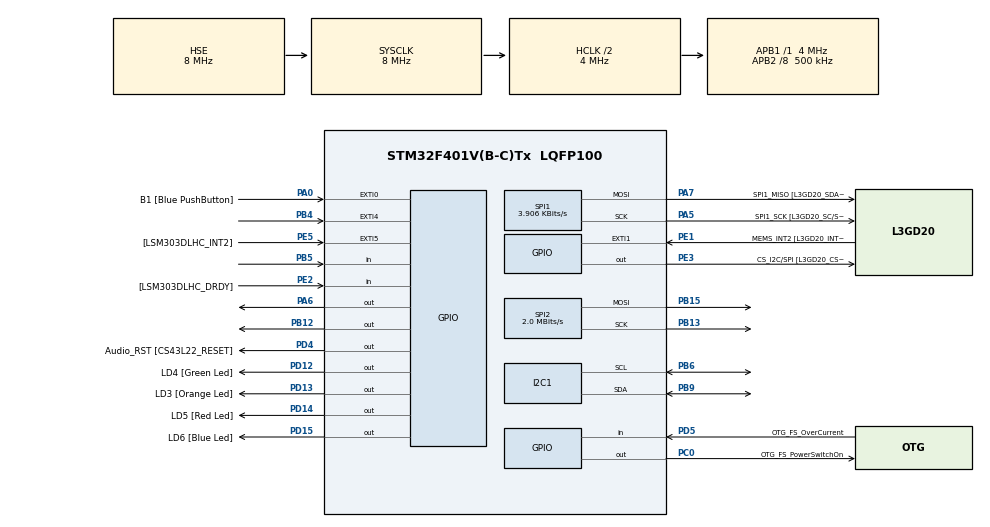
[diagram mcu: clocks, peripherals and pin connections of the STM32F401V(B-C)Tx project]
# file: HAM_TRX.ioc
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FREERTOS.Tasks01=defaultTask,0,128,StartDefaultTask
I2C1.I2C_Mode=I2C_Standard
Mcu.Family=STM32F4
Mcu.Name=STM32F401V(B-C)Tx
Mcu.Package=LQFP100
NVIC.EXTI4_IRQn=true\:5\:0\:true
NVIC.PriorityGroup=NVIC_PRIORITYGROUP_4
PA0-WKUP.GPIO_Label=B1 [Blue PushButton]
PA0-WKUP.GPIO_ModeDefaultEXTI=GPIO_MODE_EVT_RISING
PA0-WKUP.Signal=GPXTI0
PA10.GPIO_Label=OTG_FS_ID
PA10.Signal=USB_OTG_FS_ID
PA11.GPIO_Label=OTG_FS_DM
PA11.Signal=USB_OTG_FS_DM
PA12.GPIO_Label=OTG_FS_DP
PA12.Signal=USB_OTG_FS_DP
PA13.GPIO_Label=SWDIO
PA13.Mode=Trace-Asynchronous_SW
PA13.Signal=SYS_JTMS-SWDIO
PA14.GPIO_Label=SWCLK
PA14.Mode=Trace-Asynchronous_SW
PA14.Signal=SYS_JTCK-SWCLK
PA4.GPIO_Label=I2S3_WS [CS43L22_LRCK]
PA4.GPIO_Mode=GPIO_MODE_AF_PP
PA4.GPIO_PuPd=GPIO_NOPULL
PA4.GPIO_Speed=GPIO_SPEED_LOW
PA4.Signal=I2S3_WS
PA5.GPIO_Label=SPI1_SCK [L3GD20_SC/SPC]
PA5.Mode=TX_Only_Simplex_Unidirect_Master
PA5.Signal=SPI1_SCK
PA6.Signal=GPIO_Output
PA7.GPIO_Label=SPI1_MISO [L3GD20_SDA/SDI/SDO]
PA7.Mode=TX_Only_Simplex_Unidirect_Master
PA7.Signal=SPI1_MOSI
PA9.GPIO_Label=VBUS_FS
PA9.Signal=USB_OTG_FS_VBUS
PB10.GPIO_Label=CLK_IN [MP45DT02_CLK]
PB10.Signal=I2S2_CK
PB12.Signal=GPIO_Output
PB13.Mode=TX_Only_Simplex_Unidirect_Master
PB13.Signal=SPI2_SCK
PB15.Mode=TX_Only_Simplex_Unidirect_Master
PB15.Signal=SPI2_MOSI
PB3.GPIO_Label=SWO
PB3.Mode=Trace-Asynchronous_SW
PB3.Signal=SYS_JTDO-SWO
PB4.Signal=GPXTI4
PB5.Signal=GPIO_Input
PB6.GPIO_Mode=GPIO_MODE_AF_OD
PB6.GPIO_PuPd=GPIO_NOPULL
PB6.GPIO_PuPdOD=GPIO_PULLUP
PB6.GPIO_Speed=GPIO_SPEED_HIGH
PB6.Mode=I2C
PB6.Signal=I2C1_SCL
PB9.GPIO_PuPdOD=GPIO_PULLUP
PB9.Mode=I2C
PB9.Signal=I2C1_SDA
PC0.GPIO_Label=OTG_FS_PowerSwitchOn
PC0.Signal=GPIO_Output
PC10.GPIO_Label=I2S3_SCK [CS43L22_SCLK]
PC10.GPIO_Mode=GPIO_MODE_AF_PP
PC10.GPIO_PuPd=GPIO_NOPULL
PC10.GPIO_Speed=GPIO_SPEED_LOW
PC10.Signal=I2S3_CK
PC12.GPIO_Label=I2S3_SD [CS43L22_SDIN]
PC12.GPIO_Mode=GPIO_MODE_AF_PP
PC12.GPIO_PuPd=GPIO_NOPULL
PC12.GPIO_Speed=GPIO_SPEED_LOW
PC12.Signal=I2S3_SD
PC14-OSC32_IN.GPIO_Label=PC14-OSC32_IN
PC14-OSC32_IN.Signal=RCC_OSC32_IN
PC15-OSC32_OUT.GPIO_Label=PC15-OSC32_OUT
PC15-OSC32_OUT.Signal=RCC_OSC32_OUT
PC3.GPIO_Label=PDM_OUT [MP45DT02_DOUT]
PC3.Signal=I2S2_SD
PC7.GPIO_Label=I2S3_MCK [CS43L22_MCLK]
PC7.GPIO_Mode=GPIO_MODE_AF_PP
PC7.GPIO_PuPd=GPIO_NOPULL
PC7.GPIO_Speed=GPIO_SPEED_LOW
PC7.Signal=I2S3_MCK
PD12.GPIO_Label=LD4 [Green Led]
PD12.GPIO_PuPd=GPIO_NOPULL
PD12.GPIO_Speed=GPIO_SPEED_LOW
PD12.Signal=GPIO_Output
PD13.GPIO_Label=LD3 [Orange Led]
PD13.GPIO_PuPd=GPIO_NOPULL
PD13.GPIO_Speed=GPIO_SPEED_LOW
PD13.Signal=GPIO_Output
PD14.GPIO_Label=LD5 [Red Led]
PD14.GPIO_PuPd=GPIO_NOPULL
PD14.GPIO_Speed=GPIO_SPEED_LOW
PD14.Signal=GPIO_Output
PD15.GPIO_Label=LD6 [Blue Led]
PD15.GPIO_PuPd=GPIO_NOPULL
PD15.GPIO_Speed=GPIO_SPEED_LOW
PD15.Signal=GPIO_Output
PD4.GPIO_Label=Audio_RST [CS43L22_RESET]
PD4.Signal=GPIO_Output
PD5.GPIO_Label=OTG_FS_OverCurrent
PD5.Signal=GPIO_Input
PE1.GPIO_Label=MEMS_INT2 [L3GD20_INT2]
PE1.GPIO_ModeDefaultEXTI=GPIO_MODE_EVT_RISING
PE1.Signal=GPXTI1
PE2.GPIO_Label=[LSM303DLHC_DRDY]
PE2.Signal=GPIO_Input
PE3.GPIO_Label=CS_I2C/SPI [L3GD20_CS_I2C/SPI]
PE3.Signal=GPIO_Output
PE5.GPIO_Label=[LSM303DLHC_INT2]
PE5.GPIO_ModeDefaultEXTI=GPIO_MODE_EVT_RISING
PE5.Signal=GPXTI5
PH0\ -\ OSC_IN.GPIO_Label=PH0-OSC_IN
PH0\ -\ OSC_IN.Mode=HSE-External-Oscillator
PH0\ -\ OSC_IN.Signal=RCC_OSC_IN
PH1\ -\ OSC_OUT.GPIO_Label=PH1-OSC_OUT
PH1\ -\ OSC_OUT.Mode=HSE-External-Oscillator
PH1\ -\ OSC_OUT.Signal=RCC_OSC_OUT
ProjectManager.TargetToolchain=SW4STM32
RCC.48MHZClocksFreq_Value=14285714.285714285
RCC.AHBCLKDivider=RCC_SYSCLK_DIV2
RCC.AHBFreq_Value=4000000
RCC.APB1Freq_Value=4000000
RCC.APB1TimFreq_Value=4000000
RCC.APB2CLKDivider=RCC_HCLK_DIV8
RCC.APB2Freq_Value=500000
RCC.APB2TimFreq_Value=1000000
RCC.CortexFreq_Value=4000000
RCC.HCLKFreq_Value=4000000
RCC.HSE_VALUE=8000000
RCC.HSI_VALUE=16000000
RCC.LSE_VALUE=32768
RCC.PLLM=4
RCC.PLLN=50
RCC.PLLP=RCC_PLLP_DIV4
RCC.PLLQ=7
RCC.PLLSourceVirtual=RCC_PLLSOURCE_HSE
RCC.SYSCLKFreq_VALUE=8000000
RCC.SYSCLKSource=RCC_SYSCLKSOURCE_HSE
RCC.VCOOutputFreq_Value=100000000
SPI1.BaudRatePrescaler=SPI_BAUDRATEPRESCALER_128
SPI1.CalculateBaudRate=3.906 KBits/s
SPI1.FirstBit=SPI_FIRSTBIT_LSB
SPI1.Mode=SPI_MODE_MASTER
SPI2.BaudRatePrescaler=SPI_BAUDRATEPRESCALER_2
SPI2.CalculateBaudRate=2.0 MBits/s
SPI2.Mode=SPI_MODE_MASTER
VP_FREERTOS_VS_ENABLE.Mode=Enabled
board=STM32F401C-DISCO

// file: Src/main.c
/**
 ******************************************************************************
 * File Name          : main.c
 * Description        : Main program body
 ******************************************************************************
 *
 * COPYRIGHT(c) 2015 STMicroelectronics
 *
 * Redistribution and use in source and binary forms, with or without modification,
 * are permitted provided that the following conditions are met:
 *   1. Redistributions of source code must retain the above copyright notice,
 *      this list of conditions and the following disclaimer.
 *   2. Redistributions in binary form must reproduce the above copyright notice,
 *      this list of conditions and the following disclaimer in the documentation
 *      and/or other materials provided with the distribution.
 *   3. Neither the name of STMicroelectronics nor the names of its contributors
 *      may be used to endorse or promote products derived from this software
 *      without specific prior written permission.
 *
 * THIS SOFTWARE IS PROVIDED BY THE COPYRIGHT HOLDERS AND CONTRIBUTORS "AS IS"
 * AND ANY EXPRESS OR IMPLIED WARRANTIES, INCLUDING, BUT NOT LIMITED TO, THE
 * IMPLIED WARRANTIES OF MERCHANTABILITY AND FITNESS FOR A PARTICULAR PURPOSE ARE
 * DISCLAIMED. IN NO EVENT SHALL THE COPYRIGHT HOLDER OR CONTRIBUTORS BE LIABLE
 * FOR ANY DIRECT, INDIRECT, INCIDENTAL, SPECIAL, EXEMPLARY, OR CONSEQUENTIAL
 * DAMAGES (INCLUDING, BUT NOT LIMITED TO, PROCUREMENT OF SUBSTITUTE GOODS OR
 * SERVICES; LOSS OF USE, DATA, OR PROFITS; OR BUSINESS INTERRUPTION) HOWEVER
 * CAUSED AND ON ANY THEORY OF LIABILITY, WHETHER IN CONTRACT, STRICT LIABILITY,
 * OR TORT (INCLUDING NEGLIGENCE OR OTHERWISE) ARISING IN ANY WAY OUT OF THE USE
 * OF THIS SOFTWARE, EVEN IF ADVISED OF THE POSSIBILITY OF SUCH DAMAGE.
 *
 ******************************************************************************
 */
#include "stm32f4xx_hal.h"
#include "cmsis_os.h"

/* USER CODE BEGIN Includes */
#include "main.h"
/* USER CODE END Includes */

I2C_HandleTypeDef hi2c1;

SPI_HandleTypeDef hspi1;
SPI_HandleTypeDef hspi2;

osThreadId defaultTaskHandle;

/* USER CODE BEGIN PV */
osThreadId LCD_TaskHandle;
osThreadId DDS_AD9850_TaskHandle;

xQueueHandle Global_Queue_Handle = 0;

uint32_t Global_Freq = 11000000;

/* Private variables ---------------------------------------------------------*/

/* USER CODE END PV */

void SystemClock_Config(void);
static void MX_GPIO_Init(void);
static void MX_I2C1_Init(void);
static void MX_SPI1_Init(void);
static void MX_SPI2_Init(void);
void StartDefaultTask(void const * argument);

/* USER CODE BEGIN PFP */
/* Private function prototypes -----------------------------------------------*/

void LCD_Task(const void * arg);
void DDS_AD9850_Task(const void * arg);

/* USER CODE END PFP */

/* USER CODE BEGIN 0 */

#define  FREQ_CONST  4294967296    //AD9850 calculation constant
#define  XTAL_MHZ    125000000     //cristal freq. on AD9850's pcb
#define  INTERMED    4000000       //intermediate frequency

// D7 D6 D5 D4 BL CS RW RS
// x  x  x  x  1  1  0  0 = XC (hex)
#define LCD_RS         (uint8_t) (0x01)//(0b00000001)  //P0 - PCF8574T Pin connected to RS
#define LCD_RW         (uint8_t) (0x02)//( 0b00000010)  //P1 - PCF8574T Pin connected to RW
#define LCD_EN         (uint8_t) (0x04)//( 0b00000100)  //P2 - PCF8574T Pin connected to EN
#define LCD_BACKLIGHT  (uint8_t) (0x08)//( 0b00001000)  //P3 - PCF8574T Pin connected to BACKLIGHT

// LCD Command
#define LCD_CUR_OFFSET 0x80      // 0x80 + 5 moves cursor to position 5 in a line

#define LCD_HOME 0x02
#define LCD_NEXT_LINE 0xC0
#define LCD_CLEAR 0x01
#define LCD_1CYCLE 0
#define LCD_2CYCLE 1

/******************************************************************************/
/* Calculation for frequency.It converts decimal freq. in HZ to AD9850 format */
/* @param the frequency                                                       */
/* @return calculated freq                                                    */
/******************************************************************************/
int calculate_frequency(int frequency) {
    return frequency * FREQ_CONST / XTAL_MHZ;
}

/* USER CODE END 0 */

int main(void) {

    /* MCU Configuration----------------------------------------------------------*/

    /* Reset of all peripherals, Initializes the Flash interface and the Systick. */
    HAL_Init();

    /* Configure the system clock */
    SystemClock_Config();

    /* Initialize all configured peripherals */
    MX_GPIO_Init();
    MX_I2C1_Init();
    MX_SPI1_Init();
    MX_SPI2_Init();

    /* Create the thread(s) */
    /* definition and creation of defaultTask */
    osThreadDef(defaultTask, StartDefaultTask, osPriorityNormal, 0, 128);
    defaultTaskHandle = osThreadCreate(osThread(defaultTask), NULL);

    /* USER CODE BEGIN RTOS_THREADS */
    /* add threads, ... */

    //LCD_Task
    osThreadDef(LCD, LCD_Task, osPriorityNormal, 0, 128);
    LCD_TaskHandle = osThreadCreate(osThread(LCD), NULL);

    // DDS_AD9850_Task
    osThreadDef(DDS_AD9850, DDS_AD9850_Task, osPriorityNormal, 0, 128);
    DDS_AD9850_TaskHandle = osThreadCreate(osThread(DDS_AD9850), NULL);

    /* USER CODE END RTOS_THREADS */

    /* USER CODE BEGIN RTOS_QUEUES */
    /* add queues, ... */

    Global_Queue_Handle = xQueueCreate(10, 10 * sizeof(uint8_t));

    /* USER CODE END RTOS_QUEUES */

    /* Start scheduler */
    osKernelStart();

    /* We should never get here as control is now taken by the scheduler */

    /* Infinite loop */
    while (1) {

    }

}

/** System Clock Configuration
 */
void SystemClock_Config(void) {

    RCC_OscInitTypeDef RCC_OscInitStruct;
    RCC_ClkInitTypeDef RCC_ClkInitStruct;

    __PWR_CLK_ENABLE()
    ;

    __HAL_PWR_VOLTAGESCALING_CONFIG(PWR_REGULATOR_VOLTAGE_SCALE1);

    RCC_OscInitStruct.OscillatorType = RCC_OSCILLATORTYPE_HSE;
    RCC_OscInitStruct.HSEState = RCC_HSE_ON;
    RCC_OscInitStruct.PLL.PLLState = RCC_PLL_NONE;
    HAL_RCC_OscConfig(&RCC_OscInitStruct);

    RCC_ClkInitStruct.ClockType = RCC_CLOCKTYPE_HCLK | RCC_CLOCKTYPE_SYSCLK
            | RCC_CLOCKTYPE_PCLK2;
    RCC_ClkInitStruct.SYSCLKSource = RCC_SYSCLKSOURCE_HSE;
    RCC_ClkInitStruct.AHBCLKDivider = RCC_SYSCLK_DIV2;
    RCC_ClkInitStruct.APB1CLKDivider = RCC_HCLK_DIV1;
    RCC_ClkInitStruct.APB2CLKDivider = RCC_HCLK_DIV8;
    HAL_RCC_ClockConfig(&RCC_ClkInitStruct, FLASH_LATENCY_0);

    HAL_SYSTICK_Config(HAL_RCC_GetHCLKFreq() / 1000);

    HAL_SYSTICK_CLKSourceConfig(SYSTICK_CLKSOURCE_HCLK);

    /* SysTick_IRQn interrupt configuration */
    HAL_NVIC_SetPriority(SysTick_IRQn, 0, 0);
}

/* I2C1 init function */
void MX_I2C1_Init(void) {

    hi2c1.Instance = I2C1;
    hi2c1.Init.ClockSpeed = 100000;
    hi2c1.Init.DutyCycle = I2C_DUTYCYCLE_2;
    hi2c1.Init.OwnAddress1 = 0;
    hi2c1.Init.AddressingMode = I2C_ADDRESSINGMODE_7BIT;
    hi2c1.Init.DualAddressMode = I2C_DUALADDRESS_DISABLED;
    hi2c1.Init.OwnAddress2 = 0;
    hi2c1.Init.GeneralCallMode = I2C_GENERALCALL_DISABLED;
    hi2c1.Init.NoStretchMode = I2C_NOSTRETCH_DISABLED;
    HAL_I2C_Init(&hi2c1);

}

/* SPI1 init function */
void MX_SPI1_Init(void) {

    hspi1.Instance = SPI1;
    hspi1.Init.Mode = SPI_MODE_MASTER;
    hspi1.Init.Direction = SPI_DIRECTION_2LINES;
    hspi1.Init.DataSize = SPI_DATASIZE_8BIT;
    hspi1.Init.CLKPolarity = SPI_POLARITY_LOW;
    hspi1.Init.CLKPhase = SPI_PHASE_1EDGE;
    hspi1.Init.NSS = SPI_NSS_SOFT;
    hspi1.Init.BaudRatePrescaler = SPI_BAUDRATEPRESCALER_128;
    hspi1.Init.FirstBit = SPI_FIRSTBIT_LSB;
    hspi1.Init.TIMode = SPI_TIMODE_DISABLED;
    hspi1.Init.CRCCalculation = SPI_CRCCALCULATION_DISABLED;
    hspi1.Init.CRCPolynomial = 10;
    HAL_SPI_Init(&hspi1);

}

/* SPI2 init function */
void MX_SPI2_Init(void) {

    hspi2.Instance = SPI2;
    hspi2.Init.Mode = SPI_MODE_MASTER;
    hspi2.Init.Direction = SPI_DIRECTION_2LINES;
    hspi2.Init.DataSize = SPI_DATASIZE_8BIT;
    hspi2.Init.CLKPolarity = SPI_POLARITY_LOW;
    hspi2.Init.CLKPhase = SPI_PHASE_1EDGE;
    hspi2.Init.NSS = SPI_NSS_SOFT;
    hspi2.Init.BaudRatePrescaler = SPI_BAUDRATEPRESCALER_2;
    hspi2.Init.FirstBit = SPI_FIRSTBIT_MSB;
    hspi2.Init.TIMode = SPI_TIMODE_DISABLED;
    hspi2.Init.CRCCalculation = SPI_CRCCALCULATION_DISABLED;
    hspi2.Init.CRCPolynomial = 10;
    HAL_SPI_Init(&hspi2);

}

/** Configure pins as
 * Analog
 * Input
 * Output
 * EVENT_OUT
 * EXTI
 PC3   ------> I2S2_SD
 PA4   ------> I2S3_WS
 PB10   ------> I2S2_CK
 PC7   ------> I2S3_MCK
 PA9   ------> USB_OTG_FS_VBUS
 PA10   ------> USB_OTG_FS_ID
 PA11   ------> USB_OTG_FS_DM
 PA12   ------> USB_OTG_FS_DP
 PC10   ------> I2S3_CK
 PC12   ------> I2S3_SD
 */
void MX_GPIO_Init(void) {

    GPIO_InitTypeDef GPIO_InitStruct;

    /* GPIO Ports Clock Enable */
    __GPIOE_CLK_ENABLE()
    ;
    __GPIOC_CLK_ENABLE()
    ;
    __GPIOH_CLK_ENABLE()
    ;
    __GPIOA_CLK_ENABLE()
    ;
    __GPIOB_CLK_ENABLE()
    ;
    __GPIOD_CLK_ENABLE()
    ;

    /*Configure GPIO pin : PE2 */
    GPIO_InitStruct.Pin = GPIO_PIN_2;
    GPIO_InitStruct.Mode = GPIO_MODE_INPUT;
    GPIO_InitStruct.Pull = GPIO_NOPULL;
    HAL_GPIO_Init(GPIOE, &GPIO_InitStruct);

    /*Configure GPIO pin : CS_I2C_SPI_Pin */
    GPIO_InitStruct.Pin = CS_I2C_SPI_Pin;
    GPIO_InitStruct.Mode = GPIO_MODE_OUTPUT_PP;
    GPIO_InitStruct.Pull = GPIO_NOPULL;
    GPIO_InitStruct.Speed = GPIO_SPEED_LOW;
    HAL_GPIO_Init(CS_I2C_SPI_GPIO_Port, &GPIO_InitStruct);

    /*Configure GPIO pins : PE5 MEMS_INT2_Pin */
    GPIO_InitStruct.Pin = GPIO_PIN_5 | MEMS_INT2_Pin;
    GPIO_InitStruct.Mode = GPIO_MODE_EVT_RISING;
    GPIO_InitStruct.Pull = GPIO_NOPULL;
    HAL_GPIO_Init(GPIOE, &GPIO_InitStruct);

    /*Configure GPIO pin : OTG_FS_PowerSwitchOn_Pin */
    GPIO_InitStruct.Pin = OTG_FS_PowerSwitchOn_Pin;
    GPIO_InitStruct.Mode = GPIO_MODE_OUTPUT_PP;
    GPIO_InitStruct.Pull = GPIO_NOPULL;
    GPIO_InitStruct.Speed = GPIO_SPEED_LOW;
    HAL_GPIO_Init(OTG_FS_PowerSwitchOn_GPIO_Port, &GPIO_InitStruct);

    /*Configure GPIO pin : PDM_OUT_Pin */
    GPIO_InitStruct.Pin = PDM_OUT_Pin;
    GPIO_InitStruct.Mode = GPIO_MODE_AF_PP;
    GPIO_InitStruct.Pull = GPIO_NOPULL;
    GPIO_InitStruct.Speed = GPIO_SPEED_LOW;
    GPIO_InitStruct.Alternate = GPIO_AF5_SPI2;
    HAL_GPIO_Init(PDM_OUT_GPIO_Port, &GPIO_InitStruct);

    /*Configure GPIO pin : B1_Pin */
    GPIO_InitStruct.Pin = B1_Pin;
    GPIO_InitStruct.Mode = GPIO_MODE_EVT_RISING;
    GPIO_InitStruct.Pull = GPIO_NOPULL;
    HAL_GPIO_Init(B1_GPIO_Port, &GPIO_InitStruct);

    /*Configure GPIO pin : PA4 */
    GPIO_InitStruct.Pin = GPIO_PIN_4;
    GPIO_InitStruct.Mode = GPIO_MODE_AF_PP;
    GPIO_InitStruct.Pull = GPIO_NOPULL;
    GPIO_InitStruct.Speed = GPIO_SPEED_LOW;
    GPIO_InitStruct.Alternate = GPIO_AF6_SPI3;
    HAL_GPIO_Init(GPIOA, &GPIO_InitStruct);

    /*Configure GPIO pin : PA6 */
    GPIO_InitStruct.Pin = GPIO_PIN_6;
    GPIO_InitStruct.Mode = GPIO_MODE_OUTPUT_PP;
    GPIO_InitStruct.Pull = GPIO_NOPULL;
    GPIO_InitStruct.Speed = GPIO_SPEED_LOW;
    HAL_GPIO_Init(GPIOA, &GPIO_InitStruct);

    /*Configure GPIO pin : CLK_IN_Pin */
    GPIO_InitStruct.Pin = CLK_IN_Pin;
    GPIO_InitStruct.Mode = GPIO_MODE_AF_PP;
    GPIO_InitStruct.Pull = GPIO_NOPULL;
    GPIO_InitStruct.Speed = GPIO_SPEED_LOW;
    GPIO_InitStruct.Alternate = GPIO_AF5_SPI2;
    HAL_GPIO_Init(CLK_IN_GPIO_Port, &GPIO_InitStruct);

    /*Configure GPIO pin : PB12 */
    GPIO_InitStruct.Pin = GPIO_PIN_12;
    GPIO_InitStruct.Mode = GPIO_MODE_OUTPUT_PP;
    GPIO_InitStruct.Pull = GPIO_NOPULL;
    GPIO_InitStruct.Speed = GPIO_SPEED_LOW;
    HAL_GPIO_Init(GPIOB, &GPIO_InitStruct);

    /*Configure GPIO pins : LD4_Pin LD3_Pin LD5_Pin LD6_Pin
     Audio_RST_Pin */
    GPIO_InitStruct.Pin = LD4_Pin | LD3_Pin | LD5_Pin | LD6_Pin | Audio_RST_Pin;
    GPIO_InitStruct.Mode = GPIO_MODE_OUTPUT_PP;
    GPIO_InitStruct.Pull = GPIO_NOPULL;
    GPIO_InitStruct.Speed = GPIO_SPEED_LOW;
    HAL_GPIO_Init(GPIOD, &GPIO_InitStruct);

    /*Configure GPIO pins : PC7 I2S3_SCK_Pin PC12 */
    GPIO_InitStruct.Pin = GPIO_PIN_7 | I2S3_SCK_Pin | GPIO_PIN_12;
    GPIO_InitStruct.Mode = GPIO_MODE_AF_PP;
    GPIO_InitStruct.Pull = GPIO_NOPULL;
    GPIO_InitStruct.Speed = GPIO_SPEED_LOW;
    GPIO_InitStruct.Alternate = GPIO_AF6_SPI3;
    HAL_GPIO_Init(GPIOC, &GPIO_InitStruct);

    /*Configure GPIO pin : VBUS_FS_Pin */
    GPIO_InitStruct.Pin = VBUS_FS_Pin;
    GPIO_InitStruct.Mode = GPIO_MODE_INPUT;
    GPIO_InitStruct.Pull = GPIO_NOPULL;
    HAL_GPIO_Init(VBUS_FS_GPIO_Port, &GPIO_InitStruct);

    /*Configure GPIO pins : OTG_FS_ID_Pin OTG_FS_DM_Pin OTG_FS_DP_Pin */
    GPIO_InitStruct.Pin = OTG_FS_ID_Pin | OTG_FS_DM_Pin | OTG_FS_DP_Pin;
    GPIO_InitStruct.Mode = GPIO_MODE_AF_PP;
    GPIO_InitStruct.Pull = GPIO_NOPULL;
    GPIO_InitStruct.Speed = GPIO_SPEED_HIGH;
    GPIO_InitStruct.Alternate = GPIO_AF10_OTG_FS;
    HAL_GPIO_Init(GPIOA, &GPIO_InitStruct);

    /*Configure GPIO pin : OTG_FS_OverCurrent_Pin */
    GPIO_InitStruct.Pin = OTG_FS_OverCurrent_Pin;
    GPIO_InitStruct.Mode = GPIO_MODE_INPUT;
    GPIO_InitStruct.Pull = GPIO_NOPULL;
    HAL_GPIO_Init(OTG_FS_OverCurrent_GPIO_Port, &GPIO_InitStruct);

    /*Configure GPIO pin : PB4 */
    GPIO_InitStruct.Pin = GPIO_PIN_4;
    GPIO_InitStruct.Mode = GPIO_MODE_IT_RISING;
    GPIO_InitStruct.Pull = GPIO_NOPULL;
    HAL_GPIO_Init(GPIOB, &GPIO_InitStruct);

    /*Configure GPIO pin : PB5 */
    GPIO_InitStruct.Pin = GPIO_PIN_5;
    GPIO_InitStruct.Mode = GPIO_MODE_INPUT;
    GPIO_InitStruct.Pull = GPIO_NOPULL;
    HAL_GPIO_Init(GPIOB, &GPIO_InitStruct);

    /* EXTI interrupt init*/
    HAL_NVIC_SetPriority(EXTI4_IRQn, 5, 0);
    HAL_NVIC_EnableIRQ(EXTI4_IRQn);

}

/* USER CODE BEGIN 4 */

//void LCD_putcmd(unsigned char data,unsigned char cmdtype)
void LCD_putcmd(uint8_t data, uint8_t cmdtype) {
    //D7 D6 D5 D4 BL CS RW RS
    // x  x  x  x  x  x  x  x

    uint8_t i2c_bytes[1];

    // Put the Upper 4 bits data
    //D7 D6 D5 D4 BL CS RW RS
    // x  x  x  x  1  1  0  0
    i2c_bytes[0] = (data & 0xF0) | LCD_BACKLIGHT | LCD_EN;
    HAL_I2C_Master_Transmit(&hi2c1, 0x27 << 1, i2c_bytes, 1, 100);
    osDelay(2);

    // Write Enable Pulse E: Hi -> Lo
    //D7 D6 D5 D4 BL CS RW RS
    // x  x  x  x  1  0  0  0
    i2c_bytes[0] &= (~LCD_EN );
    HAL_I2C_Master_Transmit(&hi2c1, 0x27 << 1, i2c_bytes, 1, 100);
    osDelay(1);

    // cmdtype = 0; One cycle write, cmdtype = 1; Two cycle writes
    if (cmdtype) {

        //D7 D6 D5 D4 BL CS RW RS
        // x  x  x  x  1  1  0  0
        i2c_bytes[0] = ((data << 4) & 0xF0) | LCD_BACKLIGHT | LCD_EN;
        HAL_I2C_Master_Transmit(&hi2c1, 0x27 << 1, i2c_bytes, 1, 100);
        osDelay(2);

        /// Write Enable Pulse E: Hi -> Lo
        //D7 D6 D5 D4 BL CS RW RS
        // x  x  x  x  1  0  0  0
        i2c_bytes[0] &= (~LCD_EN );
        HAL_I2C_Master_Transmit(&hi2c1, 0x27 << 1, i2c_bytes, 1, 100);
        osDelay(1);
    }
}

void LCD_init(void) {
    // 3v 40ms wait
    osDelay(41);

    // Send Command 0x30
    LCD_putcmd(0x30, LCD_1CYCLE);

    // Wait for more than 4.1 ms
    osDelay(5);

    // Send Command 0x30
    LCD_putcmd(0x30, LCD_1CYCLE);

    // Wait for more than 100 us
    osDelay(1);

    // Send Command 0x30
    LCD_putcmd(0x30, LCD_1CYCLE);

    // Function set: Set interface to be 4 bits long (only 1 cycle write).
    LCD_putcmd(0x20, LCD_1CYCLE);

    // Function set: DL=0;Interface is 4 bits, N=1; 2 Lines, F=0; 5x8 dots font)
    LCD_putcmd(0x28, LCD_2CYCLE);

    // Display on D=1; , C=1 Cursor on; B=0 Blinking off
    LCD_putcmd(0x0C, LCD_2CYCLE);

    // Display Clear
    LCD_putcmd(LCD_CLEAR, LCD_2CYCLE);

    // Entry Mode Set: I/D=1; Increament, S=0; No shift
    LCD_putcmd(0x06, LCD_2CYCLE);

    // Display On, Cursor Off
    //LCD_putcmd(0x0B, LCD_2CYCLE);
}

void LCD_putch(uint8_t data) {

    uint8_t i2c_bytes[1];

    // Put the Upper 4 bits data
    i2c_bytes[0] = (data & 0xF0) | LCD_BACKLIGHT | LCD_RS | LCD_EN;
    HAL_I2C_Master_Transmit(&hi2c1, 0x27 << 1, i2c_bytes, 1, 100);
    osDelay(2);

    i2c_bytes[0] &= ~LCD_EN;
    HAL_I2C_Master_Transmit(&hi2c1, 0x27 << 1, i2c_bytes, 1, 100);
    osDelay(1);

    // Put the Lower 4 bit data
    i2c_bytes[0] = ((data << 4) & 0xF0) | LCD_BACKLIGHT | LCD_RS | LCD_EN;
    HAL_I2C_Master_Transmit(&hi2c1, 0x27 << 1, i2c_bytes, 1, 100);
    osDelay(2);

    i2c_bytes[0] &= ~LCD_EN;
    HAL_I2C_Master_Transmit(&hi2c1, 0x27 << 1, i2c_bytes, 1, 100);
    osDelay(1);

}

/*
 * prints string on lCD
 */
void LCD_puts(uint8_t *s) {

    while (*s != 0) {      // While not Null
        if (*s == '\n')
            LCD_putcmd(LCD_NEXT_LINE, LCD_2CYCLE);  // Goto Second Line
        else
            LCD_putch(*s);
        s++;
    }

}

/*
 * converts integer to string
 */
int itoa(uint32_t value, uint8_t *ptr) {
    int count = 0, temp;
    if (ptr == NULL)
        return 0;
    if (value == 0) {
        *ptr = '0';
        return 1;
    }

    if (value < 0) {
        value *= (-1);
        *ptr++ = '-';
        count++;
    }
    for (temp = value; temp > 0; temp /= 10, ptr++)
        ;
    *ptr = '\0';
    for (temp = value; temp > 0; temp /= 10) {
        *--ptr = temp % 10 + '0';
        count++;
    }
    return count;

}

/*
 * sends frequency to AD9850
 */
void DDS_AD9850_send_freq(uint32_t freq) {
    freq = calculate_frequency(freq);
    uint8_t bytes[5];

    bytes[0] = (uint8_t) (freq);
    bytes[1] = (uint8_t) (freq >> 8);
    bytes[2] = (uint8_t) (freq >> 16);
    bytes[3] = (uint8_t) (freq >> 24);
    bytes[4] = 0;

    HAL_GPIO_WritePin(GPIOA, GPIO_PIN_6, GPIO_PIN_SET);
    osDelay(1);
    HAL_GPIO_WritePin(GPIOA, GPIO_PIN_6, GPIO_PIN_RESET);

    HAL_SPI_Transmit(&hspi1, bytes, 5, 10);

    HAL_GPIO_WritePin(GPIOA, GPIO_PIN_6, GPIO_PIN_SET);
    osDelay(1);
    HAL_GPIO_WritePin(GPIOA, GPIO_PIN_6, GPIO_PIN_RESET);
}

/*
 * this
 */
void DDS_AD9850_Task(const void * arg) {
    static uint32_t old_Global_Freq;
    uint32_t freq = Global_Freq;

    uint8_t buff[10];

    //freq += 1000;
    itoa(freq, buff);
    DDS_AD9850_send_freq(freq); //send frequency AD9850
    xQueueSend(Global_Queue_Handle, buff, 100); //send frequency to lcd

    for (;;) {
        if (old_Global_Freq != Global_Freq) {
            itoa(Global_Freq, buff);
            DDS_AD9850_send_freq(Global_Freq); //send frequency AD9850
            xQueueSend(Global_Queue_Handle, buff, 100); //send frequency to lcd

            old_Global_Freq = Global_Freq;
        }
        vTaskDelay(100);
    }

}

/*
 * this task prints information  to the LCD
 */
void LCD_Task(const void * arg) {

    LCD_init();
//LCD_puts("Hi people WOW!!!\n");
//LCD_puts("HEllO WORLD!!!");

    //uint16_t i = 0;

    uint8_t buff[10];

    for (;;) {
        //i += 1000;
        //itoa(i, buff);

        //LCD_putcmd(LCD_HOME, LCD_2CYCLE);
        //LCD_putcmd(LCD_CUR_OFFSET + 7, LCD_2CYCLE);

        //LCD_puts(buff);

        //HAL_Delay(300);

        if (xQueueReceive(Global_Queue_Handle, buff, 1000)) {
            LCD_putcmd(LCD_CUR_OFFSET + 7, LCD_2CYCLE);
            LCD_puts(buff);
        }

    }
}

/* USER CODE END 4 */

/* StartDefaultTask function */
void StartDefaultTask(void const * argument) {

    /* USER CODE BEGIN 5 */
    /*uint32_t init_freq = 5000000;
     uint32_t freq = calculate_frequency(init_freq);
     //uint32_t delta = 10;

     uint8_t bytes[5];

     bytes[0] = (uint8_t) (freq);
     bytes[1] = (uint8_t) (freq >> 8);
     bytes[2] = (uint8_t) (freq >> 16);
     bytes[3] = (uint8_t) (freq >> 24);
     bytes[4] = 0;

     osDelay(10);
     HAL_GPIO_WritePin(GPIOA, GPIO_PIN_6, GPIO_PIN_SET);
     HAL_GPIO_WritePin(GPIOA, GPIO_PIN_6, GPIO_PIN_RESET);

     HAL_SPI_Transmit(&hspi1, bytes, 5, 10);

     HAL_GPIO_WritePin(GPIOA, GPIO_PIN_6, GPIO_PIN_SET);
     HAL_GPIO_WritePin(GPIOA, GPIO_PIN_6, GPIO_PIN_RESET);
     */
//lcd test
//D7 D6 D5 D4 BL CS RW RS
// x  x  x  x  1  1  0  0 = XC (hex)
//uint8_t i2c_bytes[5];
//HAL_Delay(20);
    /*LCD_init();
     LCD_puts("Hi people WOW!!!\n");
     LCD_puts("HEllO WORLD!!!");*/

//i2c_bytes[0] = (0x30 & ~LCD_RS & ~LCD_RW ) | LCD_EN | LCD_BACKLIGHT;
//i2c_bytes[0] = 0x01<<4;
//HAL_I2C_Master_Transmit(&hi2c1, 0x27 << 1, i2c_bytes, 1, 100);
//HAL_Delay(10);
//HAL_I2C_Master_Transmit(&hi2c1, 0x27 << 1, i2c_bytes, 1, 100);
//HAL_Delay(10);
    /*i2c_bytes[0] |= 0x28 | ~LCD_RS | LCD_EN | ~LCD_RW;
     HAL_I2C_Master_Transmit(&hi2c1, 0x27 << 1, i2c_bytes, 1, 100);
     HAL_Delay(100);

     i2c_bytes[0] &= ~LCD_EN;
     HAL_I2C_Master_Transmit(&hi2c1, 0x27 << 1, i2c_bytes, 1, 100);
     HAL_Delay(1000);

     i2c_bytes[0] |= 0x30 | LCD_RS | LCD_EN | ~LCD_RW;
     HAL_I2C_Master_Transmit(&hi2c1, 0x27 << 1, i2c_bytes, 1, 100);
     HAL_Delay(100);

     i2c_bytes[0] &= ~LCD_EN;
     HAL_I2C_Master_Transmit(&hi2c1, 0x27 << 1, i2c_bytes, 1, 100);
     HAL_Delay(1000);*/

    /*i2c_bytes[0] = 0Xc6;
     HAL_I2C_Master_Transmit(&hi2c1, 0x27 << 1, i2c_bytes, 1, 100);
     HAL_Delay(100);
     i2c_bytes[0] = 0Xcc;
     HAL_I2C_Master_Transmit(&hi2c1, 0x27 << 1, i2c_bytes, 1, 100);
     HAL_Delay(100);
     i2c_bytes[0] = 0X06;
     HAL_I2C_Master_Transmit(&hi2c1, 0x27 << 1, i2c_bytes, 1, 100);
     HAL_Delay(100);
     i2c_bytes[0] = 0X80;
     HAL_I2C_Master_Transmit(&hi2c1, 0x27 << 1, i2c_bytes, 1, 100);
     HAL_Delay(100);*/

    /*uint16_t i = 0;

     uint8_t buff[10];*/

    /* Infinite loop */
    for (;;) {
        //LCD_putch('h');
        //LCD_putch('H');
        //HAL_I2C_Master_Transmit(&hi2c1, 0x27, i2c_bytes, 3, 100);
        //osDelay(1);
        //osDelay(1);
        //HAL_GPIO_TogglePin(GPIOD, GPIO_PIN_12); //Toggle the state of LED2
        //HAL_Delay(500); //delay 13ms
        /*init_freq += delta;
         freq = calculate_frequency(init_freq);
         uint8_t bytes[5];

         bytes[0] = (uint8_t) (freq);
         bytes[1] = (uint8_t) (freq >> 8);
         bytes[2] = (uint8_t) (freq >> 16);
         bytes[3] = (uint8_t) (freq >> 24);
         bytes[4] = 0;

         osDelay(10);
         HAL_GPIO_WritePin(GPIOA, GPIO_PIN_6, GPIO_PIN_SET);
         HAL_GPIO_WritePin(GPIOA, GPIO_PIN_6, GPIO_PIN_RESET);

         HAL_SPI_Transmit(&hspi1, bytes, 5, 10);

         HAL_GPIO_WritePin(GPIOA, GPIO_PIN_6, GPIO_PIN_SET);
         HAL_GPIO_WritePin(GPIOA, GPIO_PIN_6, GPIO_PIN_RESET);*/

        //TM_SPI_Send(SPI_TypeDef* SPIx, byte);
        //i2c_bytes[0] = 0x01 << 3;
        //HAL_I2C_Master_Transmit(&hi2c1, 0x27 << 1, i2c_bytes, 1, 100);
        //HAL_Delay(100);
        //i2c_bytes[0] = 0x00;
        //HAL_I2C_Master_Transmit(&hi2c1, 0x27 << 1, i2c_bytes, 1, 100);
        //HAL_Delay(100);
        /*i += 1000;
         itoa(i, buff);

         //LCD_putcmd(LCD_HOME, LCD_2CYCLE);
         LCD_putcmd(LCD_CUR_OFFSET + 7, LCD_2CYCLE);

         LCD_puts(buff);

         HAL_Delay(300);*/
        //LCD_puts("WWW 9999");
        //LCD_putcmd(LCD_HOME, LCD_2CYCLE);
        //HAL_Delay(100);
    }
    /* USER CODE END 5 */
}

/************************ (C) COPYRIGHT STMicroelectronics *****END OF FILE****/

/*
 * main.h
 *
 *  Created on: Dec 26, 2015
 *      Author: os
 */

#ifndef APPLICATION_USER_MAIN_H_
#define APPLICATION_USER_MAIN_H_

extern uint32_t Global_Freq;

#endif /* APPLICATION_USER_MAIN_H_ */

/**
 ******************************************************************************
 * @file    stm32f4xx_it.c
 * @brief   Interrupt Service Routines.
 ******************************************************************************
 *
 * COPYRIGHT(c) 2015 STMicroelectronics
 *
 * Redistribution and use in source and binary forms, with or without modification,
 * are permitted provided that the following conditions are met:
 *   1. Redistributions of source code must retain the above copyright notice,
 *      this list of conditions and the following disclaimer.
 *   2. Redistributions in binary form must reproduce the above copyright notice,
 *      this list of conditions and the following disclaimer in the documentation
 *      and/or other materials provided with the distribution.
 *   3. Neither the name of STMicroelectronics nor the names of its contributors
 *      may be used to endorse or promote products derived from this software
 *      without specific prior written permission.
 *
 * THIS SOFTWARE IS PROVIDED BY THE COPYRIGHT HOLDERS AND CONTRIBUTORS "AS IS"
 * AND ANY EXPRESS OR IMPLIED WARRANTIES, INCLUDING, BUT NOT LIMITED TO, THE
 * IMPLIED WARRANTIES OF MERCHANTABILITY AND FITNESS FOR A PARTICULAR PURPOSE ARE
 * DISCLAIMED. IN NO EVENT SHALL THE COPYRIGHT HOLDER OR CONTRIBUTORS BE LIABLE
 * FOR ANY DIRECT, INDIRECT, INCIDENTAL, SPECIAL, EXEMPLARY, OR CONSEQUENTIAL
 * DAMAGES (INCLUDING, BUT NOT LIMITED TO, PROCUREMENT OF SUBSTITUTE GOODS OR
 * SERVICES; LOSS OF USE, DATA, OR PROFITS; OR BUSINESS INTERRUPTION) HOWEVER
 * CAUSED AND ON ANY THEORY OF LIABILITY, WHETHER IN CONTRACT, STRICT LIABILITY,
 * OR TORT (INCLUDING NEGLIGENCE OR OTHERWISE) ARISING IN ANY WAY OUT OF THE USE
 * OF THIS SOFTWARE, EVEN IF ADVISED OF THE POSSIBILITY OF SUCH DAMAGE.
 *
 ******************************************************************************
 */
#include "stm32f4xx_hal.h"
#include "stm32f4xx.h"
#include "stm32f4xx_it.h"
#include "cmsis_os.h"

/* USER CODE BEGIN 0 */
#include "main.h"

/* USER CODE END 0 */

extern void xPortSysTickHandler(void);

/******************************************************************************/
/*            Cortex-M4 Processor Interruption and Exception Handlers         */
/******************************************************************************/

/**
 * @brief This function handles System tick timer.
 */
void SysTick_Handler(void) {
    HAL_IncTick();
    osSystickHandler();
}

/******************************************************************************/
/* STM32F4xx Peripheral Interrupt Handlers                                    */
/* Add here the Interrupt Handlers for the used peripherals.                  */
/* For the available peripheral interrupt handler names,                      */
/* please refer to the startup file (startup_stm32f4xx.s).                    */
/******************************************************************************/

/**
 * @brief This function handles EXTI line4 interrupt.
 */
void EXTI4_IRQHandler(void) {
    HAL_GPIO_EXTI_IRQHandler(GPIO_PIN_4);

    /* USER CODE BEGIN EXTI4_IRQn 1 */
    if (HAL_GPIO_ReadPin(GPIOB, GPIO_PIN_5)) {
        Global_Freq += 50;
    }else {
        Global_Freq -= 50;
    }

    HAL_GPIO_TogglePin(GPIOD, GPIO_PIN_12); //Toggle the state of LED2

    /* USER CODE END EXTI4_IRQn 1 */
}

/************************ (C) COPYRIGHT STMicroelectronics *****END OF FILE****/
